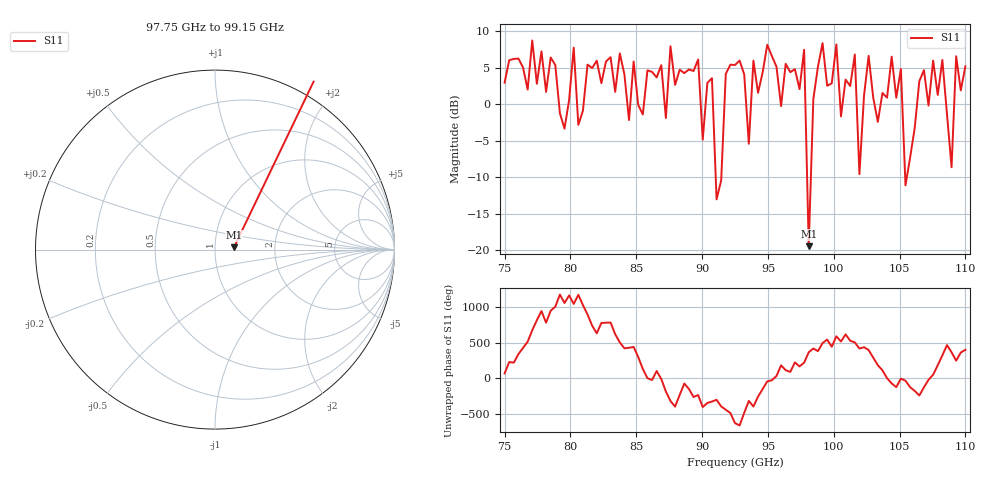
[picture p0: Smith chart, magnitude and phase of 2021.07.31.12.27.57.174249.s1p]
!Created with skrf (http://scikit-rf.org).
# GHz S RI R 50.0
!freq ReS11 ImS11
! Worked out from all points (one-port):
!   101 points, 75 GHz to 110 GHz, reference 50 ohm
!   lowest |S11| = -19.4 dB at 98.1 GHz (marker M1), VSWR 1.24, Z = 61.8 + j1.65 ohm
!   |S11| at or under -10 dB: 91.03642 GHz to 91.46015 GHz (423.7 MHz wide, 0.464 % of centre); 97.97738 GHz to 98.26384 GHz (286.5 MHz wide, 0.292 % of centre); 105.426 GHz to 105.5509 GHz (124.9 MHz wide, 0.118 % of centre)
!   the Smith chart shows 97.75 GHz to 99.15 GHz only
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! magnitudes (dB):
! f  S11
! 75 GHz  3.0
! 79.55 GHz  -3.3
! 80.25 GHz  7.8
! 80.6 GHz  -2.8
! 83.75 GHz  7.0
! 84.45 GHz  -2.2
! 88.3 GHz  4.8
! 90.75 GHz  3.6
! 91.1 GHz  -13.0
! 92.5 GHz  5.4
! 93.55 GHz  -5.4
! 93.9 GHz  6.0
! 97.05 GHz  4.8
! 97.75 GHz  7.5
! 98.1 GHz  -19.4
! 98.45 GHz  0.7
! 99.15 GHz  8.4
! 101.2 GHz  2.5
! 101.6 GHz  6.8
! 102 GHz  -9.6
! 102.7 GHz  6.6
! 103.3 GHz  -2.4
! 104.4 GHz  6.5
! 105.8 GHz  -7.3
! 108.2 GHz  6.1
! 109 GHz  -8.6
! 109.3 GHz  6.6
! 110 GHz  5.2
